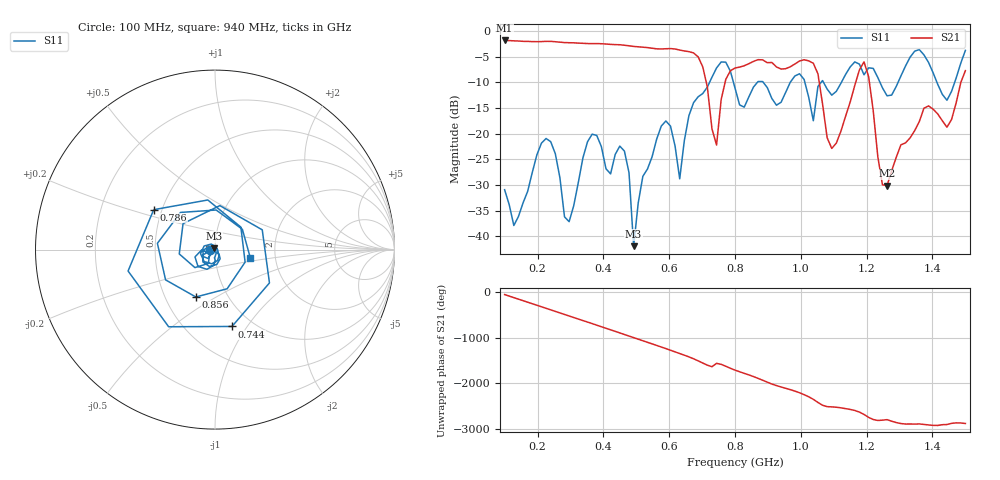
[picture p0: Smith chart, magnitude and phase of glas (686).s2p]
! NanoVNA-App
! Date: 2025-09-25 16:00:49
! Start: 100MHz Stop: 1,5GHz Points: 101
! S-Parameter data: F S11 S21 S12 S22
# Hz S RI R 50
!  Frequency  S11_Real  S11_Imag  S21_Real  S21_Imag  S12_Real  S12_Imag  S22_Real  S22_Imag
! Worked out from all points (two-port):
!   101 points, 100 MHz to 1.5 GHz, reference 50 ohm
!   highest |S21| = -1.80 dB at 100 MHz (marker M1); lowest = -30.1 dB at 1.262 GHz (marker M2)
!   |S21| within 3 dB of the highest: start of sweep to 684.4 MHz
!   lowest |S11| = -41.9 dB at 492 MHz (marker M3), VSWR 1.02, Z = 49.5 + j0.614 ohm
!   |S11| at or under -10 dB: start of sweep to 722.5 MHz; 795.4 MHz to 867.7 MHz (72.25 MHz wide, 8.69 % of centre); 886.2 MHz to 967.6 MHz (81.47 MHz wide, 8.79 % of centre) (the widest 3 of 7)
!   S12 and S22 are empty: the file has one direction only
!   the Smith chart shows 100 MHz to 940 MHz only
!   S11 on the Smith chart (normalised r, x): 100 MHz: 0.94, -0.01; 744 MHz: 0.81, -0.85; 786 MHz: 0.45, +0.24; 856 MHz: 0.71, -0.41; 940 MHz: 1.48, -0.15
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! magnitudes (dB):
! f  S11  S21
! 100 MHz  -30.9  -1.8
! 128 MHz  -37.9  -1.9
! 226 MHz  -20.9  -2.0
! 296 MHz  -37.2  -2.2
! 338 MHz  -24.7  -2.4
! 464 MHz  -23.4  -2.7
! 492 MHz  -41.9  -3.0
! 576 MHz  -18.5  -3.5
! 632 MHz  -28.8  -3.7
! 702 MHz  -12.2  -6.9
! 744 MHz  -7.2  -22.2
! 786 MHz  -7.8  -7.7
! 800 MHz  -11.1  -7.2
! 856 MHz  -10.9  -5.9
! 940 MHz  -13.9  -7.4
! 996 MHz  -8.3  -5.8
! 1.038 GHz  -17.5  -6.3
! 1.094 GHz  -12.5  -22.9
! 1.192 GHz  -8.5  -6.0
! 1.262 GHz  -12.6  -30.1
! 1.276 GHz  -12.5  -27.2
! 1.5 GHz  -3.7  -7.7
